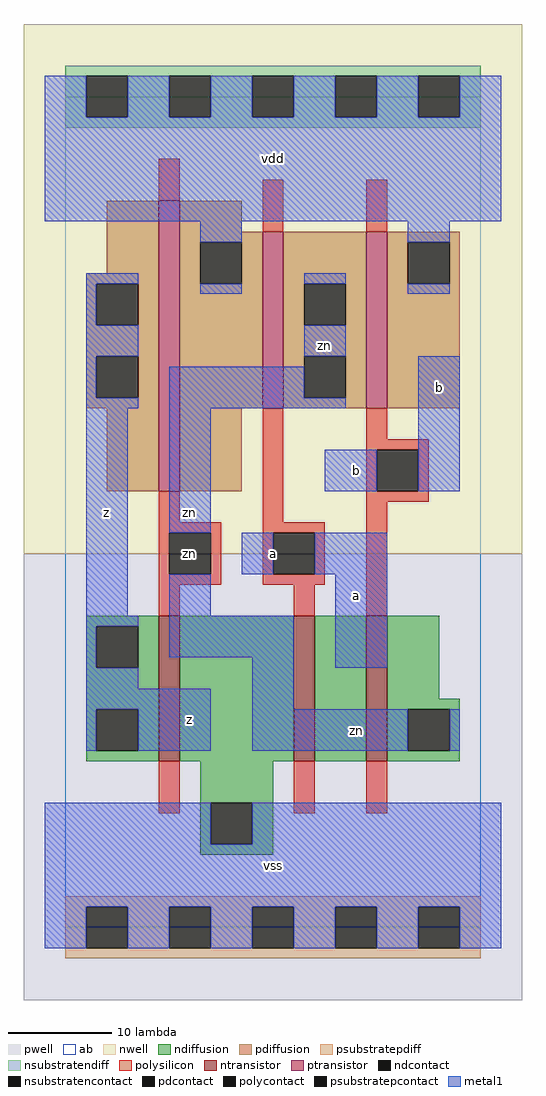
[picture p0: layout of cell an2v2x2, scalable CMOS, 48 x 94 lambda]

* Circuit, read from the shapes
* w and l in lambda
.subckt an2v2x2 a b vdd vss z zn
M1 vss zn z vss nfet w=14 l=2
M2 n1 a vss vss nfet w=14 l=2
M3 zn b n1 vss nfet w=14 l=2
M4 vdd zn z vdd pfet w=28 l=2
M5 zn a vdd vdd pfet w=17 l=2
M6 vdd b zn vdd pfet w=17 l=2
.ends

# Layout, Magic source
magic
tech scmos
<< ab >>
rect 0 0 40 80
<< pwell >>
rect -4 -7 44 36
<< nwell >>
rect -4 36 44 87
<< polysilicon >>
rect 9 70 11 74
rect 19 67 21 72
rect 29 67 31 72
rect 9 39 11 42
rect 19 39 21 50
rect 29 47 31 50
rect 29 46 35 47
rect 29 42 30 46
rect 34 42 35 46
rect 29 41 35 42
rect 9 38 15 39
rect 9 34 10 38
rect 14 34 15 38
rect 9 33 15 34
rect 19 38 25 39
rect 19 34 20 38
rect 24 34 25 38
rect 19 33 25 34
rect 9 30 11 33
rect 22 30 24 33
rect 29 30 31 41
rect 9 11 11 16
rect 22 11 24 16
rect 29 11 31 16
<< ndiffusion >>
rect 2 29 9 30
rect 2 25 3 29
rect 7 25 9 29
rect 2 21 9 25
rect 2 17 3 21
rect 7 17 9 21
rect 2 16 9 17
rect 11 16 22 30
rect 24 16 29 30
rect 31 22 36 30
rect 31 21 38 22
rect 31 17 33 21
rect 37 17 38 21
rect 31 16 38 17
rect 13 12 20 16
rect 13 8 14 12
rect 18 8 20 12
rect 13 7 20 8
<< pdiffusion >>
rect 4 63 9 70
rect 2 62 9 63
rect 2 58 3 62
rect 7 58 9 62
rect 2 55 9 58
rect 2 51 3 55
rect 7 51 9 55
rect 2 50 9 51
rect 4 42 9 50
rect 11 67 17 70
rect 11 66 19 67
rect 11 62 13 66
rect 17 62 19 66
rect 11 50 19 62
rect 21 62 29 67
rect 21 58 23 62
rect 27 58 29 62
rect 21 55 29 58
rect 21 51 23 55
rect 27 51 29 55
rect 21 50 29 51
rect 31 66 38 67
rect 31 62 33 66
rect 37 62 38 66
rect 31 50 38 62
rect 11 42 17 50
<< metal1 >>
rect -2 78 2 82
rect 6 78 10 82
rect 14 78 18 82
rect 22 78 26 82
rect 30 78 34 82
rect 38 78 42 82
rect -2 68 42 78
rect 13 66 17 68
rect 2 62 7 63
rect 2 58 3 62
rect 33 66 37 68
rect 13 61 17 62
rect 23 62 27 63
rect 2 55 7 58
rect 2 51 3 55
rect 33 61 37 62
rect 23 55 27 58
rect 2 50 7 51
rect 10 51 23 54
rect 10 50 27 51
rect 2 30 6 50
rect 10 38 14 50
rect 25 42 30 46
rect 34 42 38 55
rect 17 34 20 38
rect 24 34 31 38
rect 10 30 14 34
rect 2 29 7 30
rect 2 25 3 29
rect 10 26 22 30
rect 2 23 7 25
rect 2 21 14 23
rect 2 17 3 21
rect 7 17 14 21
rect 18 21 22 26
rect 26 25 31 34
rect 18 17 33 21
rect 37 17 38 21
rect -2 8 14 12
rect 18 8 42 12
rect -2 2 42 8
rect -2 -2 2 2
rect 6 -2 10 2
rect 14 -2 18 2
rect 22 -2 26 2
rect 30 -2 34 2
rect 38 -2 42 2
<< ntransistor >>
rect 9 16 11 30
rect 22 16 24 30
rect 29 16 31 30
<< ptransistor >>
rect 9 42 11 70
rect 19 50 21 67
rect 29 50 31 67
<< polycontact >>
rect 30 42 34 46
rect 10 34 14 38
rect 20 34 24 38
<< ndcontact >>
rect 3 25 7 29
rect 3 17 7 21
rect 33 17 37 21
rect 14 8 18 12
<< pdcontact >>
rect 3 58 7 62
rect 3 51 7 55
rect 13 62 17 66
rect 23 58 27 62
rect 23 51 27 55
rect 33 62 37 66
<< psubstratepcontact >>
rect 2 -2 6 2
rect 10 -2 14 2
rect 18 -2 22 2
rect 26 -2 30 2
rect 34 -2 38 2
<< nsubstratencontact >>
rect 2 78 6 82
rect 10 78 14 82
rect 18 78 22 82
rect 26 78 30 82
rect 34 78 38 82
<< psubstratepdiff >>
rect 0 2 40 3
rect 0 -2 2 2
rect 6 -2 10 2
rect 14 -2 18 2
rect 22 -2 26 2
rect 30 -2 34 2
rect 38 -2 40 2
rect 0 -3 40 -2
<< nsubstratendiff >>
rect 0 82 40 83
rect 0 78 2 82
rect 6 78 10 82
rect 14 78 18 82
rect 22 78 26 82
rect 30 78 34 82
rect 38 78 40 82
rect 0 77 40 78
<< labels >>
rlabel polycontact 12 36 12 36 6 zn
rlabel metal1 4 40 4 40 6 z
rlabel metal1 12 20 12 20 6 z
rlabel metal1 12 40 12 40 6 zn
rlabel metal1 20 6 20 6 6 vss
rlabel metal1 20 36 20 36 6 a
rlabel metal1 28 32 28 32 6 a
rlabel metal1 28 44 28 44 6 b
rlabel metal1 25 56 25 56 6 zn
rlabel metal1 20 74 20 74 6 vdd
rlabel metal1 28 19 28 19 6 zn
rlabel metal1 36 52 36 52 6 b
<< end >>
